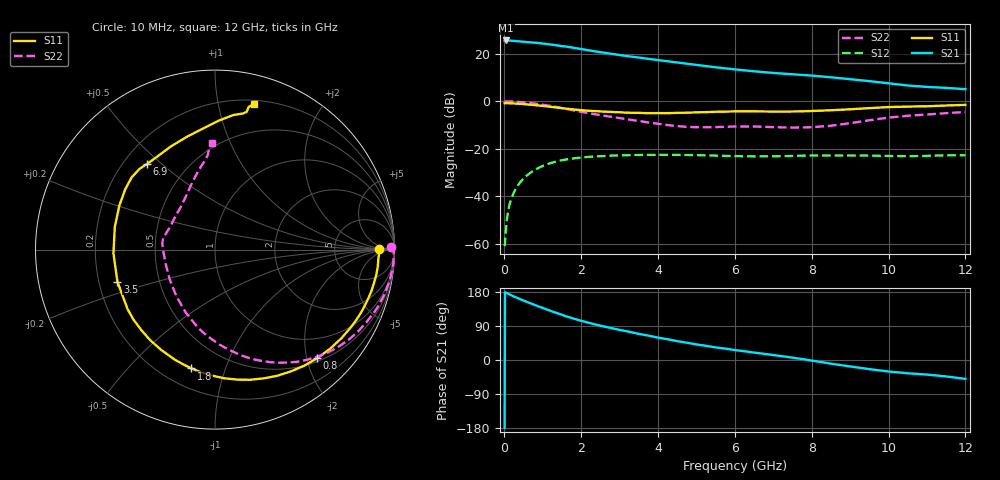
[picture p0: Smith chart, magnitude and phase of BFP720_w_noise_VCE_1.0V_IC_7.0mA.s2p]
! Infineon Technologies  Discrete & RF Semiconductors
! BFP720
! VCE =  1.0 V,  IC =  7.0 mA
! Common Emitter S-Parameters:  Aug 2012
# GHz  S  MA  R  50
!  f  S11  S21  S12  S22
! GHz  MAG  ANG  MAG  ANG  MAG  ANG  MAG  ANG
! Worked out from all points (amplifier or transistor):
!   105 points, 10 MHz to 12 GHz, reference 50 ohm
!   highest |S21| = 25.6 dB at 50 MHz (marker M1)
!   |S21| within 3 dB of that: start of sweep to 1.772 GHz
!   unconditionally stable (mu >= 1): start of sweep to 10.69 MHz; 6.305 GHz to 11.91 GHz
!   at 300 MHz: K = 0.06, MSG = 31.1 dB, |S12| = -36.8 dB
!   at 3.6 GHz: K = 0.57, MSG = 20.4 dB, |S12| = -22.5 dB
!   at 12 GHz: K = 0.98, MSG = 13.9 dB, |S12| = -22.7 dB
!   lowest NFmin = 0.44 dB at 450 MHz
!   S11 on the Smith chart (normalised r, x): 10 MHz: 22, +0; 800 MHz: 0.56, -2.20; 1.8 GHz: 0.32, -0.77; 3.5 GHz: 0.28, -0.15; 6.9 GHz: 0.29, +0.45; 12 GHz: 0.23, +1.28
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0.01  0.9126 0.1  18.76 -179.7  0.0009 17.0  0.9785 1.0
0.02  0.9153 -1.1  18.77 178.8  0.001 98.2  0.9958 -0.7
0.05  0.9117 -3.0  19.04 177.3  0.0022 88.9  0.9958 -2.1
0.25  0.9015 -14.7  18.65 167.7  0.012 81.6  0.9861 -10.8
0.45  0.8799 -26.2  18.05 159.0  0.0214 74.5  0.9613 -19.4
0.8  0.8309 -46.7  17.11 145.0  0.0363 62.9  0.8982 -34.0
1  0.7995 -58.1  16.39 137.4  0.0437 56.5  0.8518 -42.2
1.3  0.7506 -75.1  15.3 126.3  0.0529 47.6  0.7753 -53.7
1.6  0.702 -91.4  14.2 115.8  0.0596 39.7  0.6965 -64.1
1.8  0.6753 -101.2  13.37 109.4  0.0631 35.0  0.647 -70.7
2.1  0.6419 -114.1  12.19 101.0  0.0668 28.9  0.5822 -79.3
2.4  0.6205 -125.7  11.13 93.1  0.0696 23.6  0.5284 -87.5
2.7  0.602 -136.0  10.22 86.1  0.0716 19.1  0.4831 -94.9
3.5  0.5724 -161.8  8.317 69.0  0.0745 9.1  0.3869 -114.9
4.1  0.5644 179.1  7.207 57.4  0.075 3.0  0.3287 -132.5
5  0.5869 155.2  5.831 41.1  0.0738 -4.6  0.286 -164.3
6.1  0.6143 137.8  4.611 25.0  0.0704 -10.0  0.2956 172.1
6.9  0.6098 128.7  4.016 14.5  0.0696 -11.4  0.2883 162.4
8.5  0.6491 103.6  3.202 -9.6  0.0724 -18.3  0.3064 128.1
9.5  0.7197 88.2  2.657 -24.0  0.0723 -22.3  0.4 108.1
10.5  0.7748 78.3  2.153 -35.0  0.0703 -25.1  0.4966 96.7
12  0.8416 75.1  1.8 -49.8  0.0735 -30.1  0.5965 91.6
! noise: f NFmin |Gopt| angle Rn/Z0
0.45  0.44  0.4  3  -0.03
1.8  0.52  0.37  23  0.13
2.4  0.57  0.28  50  0.26
5.5  0.71  0.17  49  0.16
10  0.94  0.39  -86  0.2
